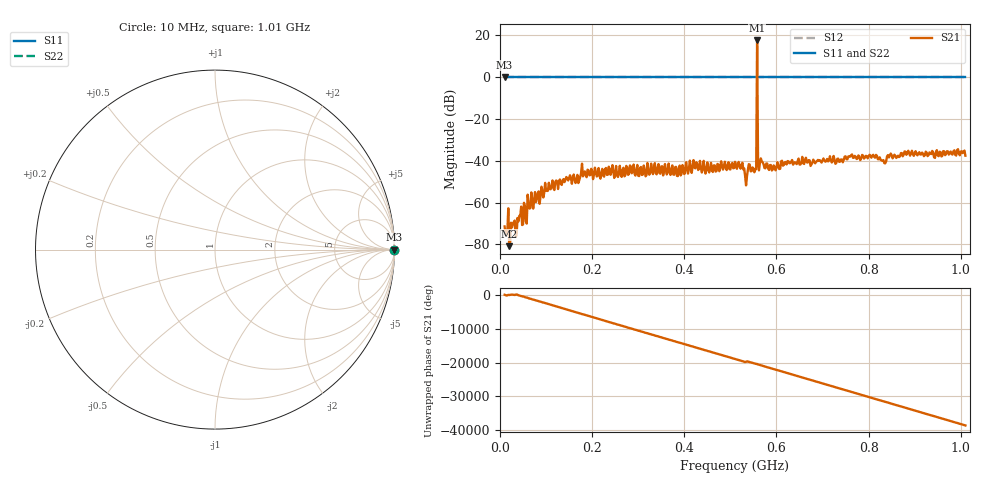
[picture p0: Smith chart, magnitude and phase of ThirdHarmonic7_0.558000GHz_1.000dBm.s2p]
! 8/17/2025 5:01:40 PM
! C:\ANRITSUVNA\TEMP\TEMP.S2P
! CHANNEL.1
! TR.MEASUREMENT
! RAW.DATA
! RF.CORRECTION.OFF
! AVERAGING.OFF
! IF.BANDWIDTH: 5KHZ
! SWEEPTYPE:  FREQ.SWEEP(Linear)
! Reference Plane Port Info
! PORT:  PORT1  PORT2
! DISTANCE:  0  m  0  m
! TIME:  0  s  0  s
! PHASE.OFFSET:  0  deg.  0  deg.
! LOSS:  0  dB  0  dB
! REF.LOSS:  0  dB  0  dB
! REF.FREQ:  0  Hz  0  Hz
! Power Info
! POWER:  -20  dBm  -20  dBm
! EFF.POWER:  -20  dBm  -20  dBm
! SOURCE.ATTEN:  0  dB  0  dB
! TEST.ATTEN:  0  dB  0  dB
# GHZ S RI R 50.0
! FREQ.GHZ  S11RE  S11IM  S21RE  S21IM  S12RE  S12IM  S22RE  S22IM
!; PortSelection: Port_12
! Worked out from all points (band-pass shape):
!   501 points, 10 MHz to 1.01 GHz, reference 50 ohm
!   highest |S21| = 17.52 dB at 558 MHz (marker M1); lowest = -80.9 dB at 20 MHz (marker M2)
!   |S21| within 3 dB of the highest: 557.9025 MHz to 558.1035 MHz (201 kHz wide, 0.036 % of centre)
!   lowest |S11| = 0.0 dB at 10 MHz (marker M3)
!   |S11| at or under -10 dB: nowhere
!   |S22| runs from 0.0 to 0.0 dB; largest |S21 - S12| = 8.4
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0.01  1 0  -0.000226 0.000146  1 0  1 0
0.02  1 0  1.8e-05 8.88e-05  1 0  1 0
0.038  1 0  -0.000404 0.000142  1 0  1 0
0.064  1 0  -0.000466 0.000548  1 0  1 0
0.094  1 0  0.00132 -4.71e-05  1 0  1 0
0.168  1 0  -0.00231 -0.00397  1 0  1 0
0.178  1 0  -0.00843 0.00113  1 0  1 0
0.344  1 0  0.00815 -0.00162  1 0  1 0
0.51  1 0  -0.00882 -0.00331  1 0  1 0
0.522  1 0  0.00209 0.00612  1 0  1 0
0.532  1 0  0.00424 0.000167  1 0  1 0
0.552  1 0  0.00321 -0.00421  1 0  1 0
0.554  1 0  -0.00295 -0.00553  1 0  1 0
0.558  1 0  -6.556 3.669  1 0  1 0
0.562  1 0  0.0029 -0.00512  1 0  1 0
0.564  1 0  -0.0073 -0.00468  1 0  1 0
0.594  1 0  0.00175 0.00752  1 0  1 0
0.678  1 0  0.00601 -0.00671  1 0  1 0
0.76  1 0  -0.00289 -0.0122  1 0  1 0
0.834  1 0  -0.00824 0.00309  1 0  1 0
0.844  1 0  -0.00728 0.00953  1 0  1 0
1.01  1 0  0.00217 -0.013  1 0  1 0
